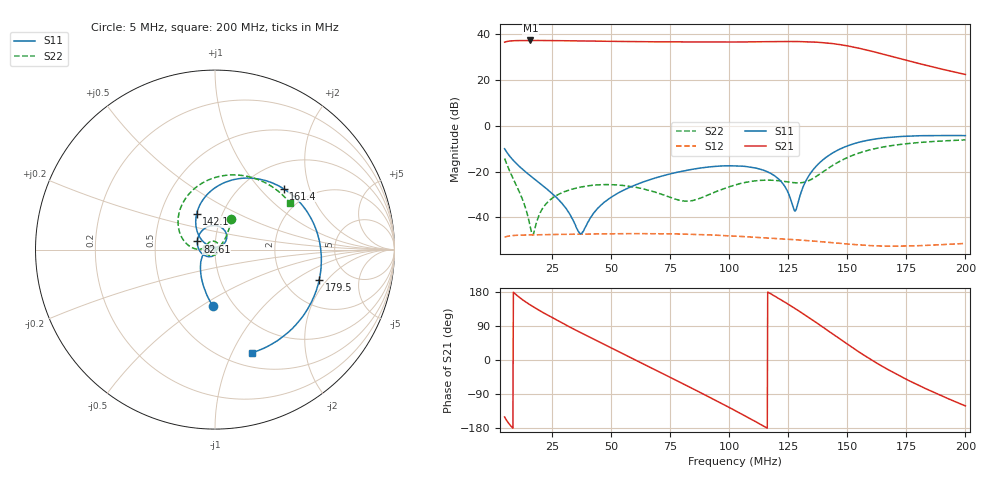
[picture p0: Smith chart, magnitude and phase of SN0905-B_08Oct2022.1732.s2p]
# Hz S DB R 50
! CMT, M5045, 22160017, 22.3.3/2
! Date: 10/8/2022 17:32:34
! Data: Format (Calibration Info)
! Freq	S11:dB/Ang(F2)	S21:dB/Ang(F2)	S12:dB/Ang(F2)	S22:dB/Ang(F2)
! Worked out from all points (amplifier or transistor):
!   1001 points, 5 MHz to 200 MHz, reference 50 ohm
!   highest |S21| = 37.2 dB at 15.92 MHz (marker M1)
!   |S21| within 3 dB of that: start of sweep to 153.2 MHz
!   unconditionally stable (mu >= 1): start of sweep to end of sweep
!   at 37.37 MHz: K = 1.77, MAG = 37.0 dB, |S12| = -47.3 dB
!   at 102.5 MHz: K = 1.99, MAG = 36.6 dB, |S12| = -48.1 dB
!   at 200 MHz: K = 6.94, MAG = 25.5 dB, |S12| = -51.3 dB
!   S11 on the Smith chart (normalised r, x): 5 MHz: 0.80, -0.56; 82.61 MHz: 0.82, +0.07; 142.1 MHz: 0.76, +0.32; 161.4 MHz: 1.49, +1.37; 179.5 MHz: 3.09, -1.66; 200 MHz: 0.65, -1.19
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5000000  -10.00 -92.0  36.49 -150.3  -48.59 -147.5  -14.25 62.6
9095000  -15.54 -117.5  37.13 176.7  -47.83 179.5  -24.11 43.3
1.592e7  -21.83 -151.4  37.23 145.1  -47.59 147.6  -44.53 -12.5
2.645e7  -30.82 160.1  37.17 107.3  -47.42 110.8  -30.70 -162.9
3.7565e7  -47.01 24.0  37.02 71.0  -47.26 75.8  -26.68 166.3
4.634e7  -34.11 -72.6  36.91 43.4  -47.15 49.6  -25.67 140.1
5.4335e7  -28.63 -106.5  36.80 18.5  -47.07 26.2  -25.94 114.2
6.2135e7  -25.09 -135.6  36.71 -5.7  -47.04 3.5  -27.15 86.5
7.013e7  -22.34 -163.5  36.64 -30.4  -47.07 -19.7  -29.42 52.1
8.261e7  -19.31 155.3  36.56 -69.4  -47.27 -56.1  -32.86 -34.8
9.2555e7  -17.85 123.3  36.54 -101.0  -47.63 -85.5  -29.52 -106.3
1.025e8  -17.45 91.8  36.56 -133.3  -48.12 -115.6  -25.81 -148.6
1.11665e8  -18.52 62.8  36.64 -164.2  -48.66 -144.6  -23.95 -178.8
1.19465e8  -21.94 39.3  36.74 168.1  -49.14 -171.2  -23.83 162.4
1.26875e8  -34.75 51.8  36.78 140.0  -49.64 161.1  -24.76 157.7
1.35065e8  -19.83 142.2  36.60 106.6  -50.24 126.9  -23.23 175.2
1.42085e8  -13.00 117.2  36.06 76.3  -50.85 94.7  -18.43 176.4
1.5125e8  -8.33 80.3  34.64 36.6  -51.67 51.3  -13.33 155.0
1.6139e8  -5.83 41.6  32.26 -4.1  -52.34 6.6  -10.04 124.9
1.6763e8  -5.05 20.2  30.60 -26.6  -52.50 -17.6  -8.82 107.2
1.79525e8  -4.37 -16.4  27.39 -64.8  -52.33 -56.4  -7.37 76.6
2e8  -4.28 -70.5  22.40 -121.2  -51.31 -109.3  -6.16 31.8
